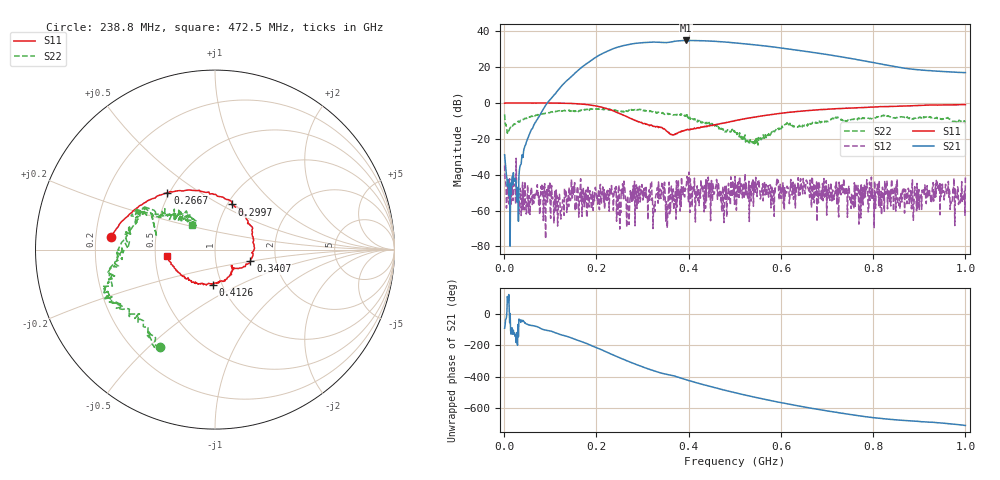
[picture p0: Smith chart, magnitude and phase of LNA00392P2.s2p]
! Created with skrf 1.9.0 (http://scikit-rf.org).
# Hz S RI R 50.0
!freq ReS11 ImS11 ReS21 ImS21 ReS12 ImS12 ReS22 ImS22
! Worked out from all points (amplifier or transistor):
!   1001 points, 1 MHz to 1 GHz, reference 50 ohm
!   highest |S21| = 34.8 dB at 394.6 MHz (marker M1)
!   |S21| within 3 dB of that: 256.4 MHz to 563 MHz (306.5 MHz wide, 74.8 % of centre)
!   unconditionally stable (mu >= 1): 51.43 MHz to 71.28 MHz; 204.9 MHz to 384.6 MHz; 396.9 MHz to end of sweep (the widest 3 of 37)
!   at 166.8 MHz: K = 2.58, MAG = 30.3 dB, |S12| = -54.9 dB
!   at 500.5 MHz: K = 1.19, MAG = 34.6 dB, |S12| = -41.0 dB
!   at 1 GHz: K = 1.30, MAG = 26.0 dB, |S12| = -41.6 dB
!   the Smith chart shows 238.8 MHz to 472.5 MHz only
!   S11 on the Smith chart (normalised r, x): 238.8 MHz: 0.26, +0.06; 266.7 MHz: 0.49, +0.37; 299.7 MHz: 1.05, +0.57; 340.7 MHz: 1.48, -0.19; 412.6 MHz: 0.90, -0.37; 472.5 MHz: 0.58, -0.05
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1000000  0.9851 0.00556  -0.00102 -0.0359  -0.0134 0.0122  0.3621 0.3131
1.08892e8  0.5244 -0.8449  -0.8058 -1.501  -0.000795 0.00151  0.4227 -0.3828
1.67833e8  -0.2264 -0.8993  -9.783 -0.5394  0.00253 -0.00322  0.0228 -0.6313
2.08792e8  -0.6559 -0.4155  -15.46 16.16  -0.00475 -0.00251  -0.219 -0.6441
2.38762e8  -0.5795 0.0722  -2.829 33.21  0.000905 -0.00335  -0.3069 -0.544
2.66734e8  -0.2647 0.3167  20.85 36.3  -0.00182 0.000264  -0.4783 -0.3401
2.99701e8  0.092 0.2514  44.29 18.63  -0.00109 -0.003  -0.5717 -0.2035
3.18682e8  0.2072 0.126  49.47 2.804  -0.00446 0.00478  -0.5668 -0.0816
3.34666e8  0.2044 -0.0181  48.1 -10.52  0.00583 -0.00234  -0.5487 -0.0616
3.4066e8  0.1976 -0.062  46.47 -14.73  -0.000253 0.00234  -0.5197 0.00871
3.71629e8  0.0975 -0.098  41.26 -32.75  0.000633 0.00367  -0.4336 0.1779
3.94606e8  0.0601 -0.1667  27.85 -47.59  -0.000737 0.00465  -0.4082 0.2125
4.12588e8  -0.0112 -0.1989  13.95 -53  -0.0051 0.00616  -0.2793 0.2279
4.41559e8  -0.1639 -0.1609  -8.246 -52.82  0.00342 0.00679  -0.1843 0.1617
4.72528e8  -0.2662 -0.0378  -26.52 -42.67  0.000482 0.000835  -0.1293 0.1362
5.005e8  -0.3046 0.1112  -37.68 -28.89  0.00312 0.00837  -0.0911 0.1235
5.4046e8  -0.2379 0.322  -41.14 -8.072  -0.000165 0.00131  -0.0763 -0.0149
5.88412e8  -0.0423 0.491  -33.73 11.5  0.00275 -0.00426  -0.1559 -0.0784
6.67333e8  0.3324 0.5295  -12.04 22.64  0.00567 -0.00545  -0.2609 -0.0428
7.49251e8  0.6135 0.3692  3.127 17.27  0.000316 -0.00198  -0.3232 0.0694
8.34166e8  0.7837 0.1327  7.269 8.319  -0.000803 -0.00219  -0.3765 0.1867
1e9  0.8058 -0.4033  6.91 1.118  -0.00145 0.0082  -0.0201 0.2959
